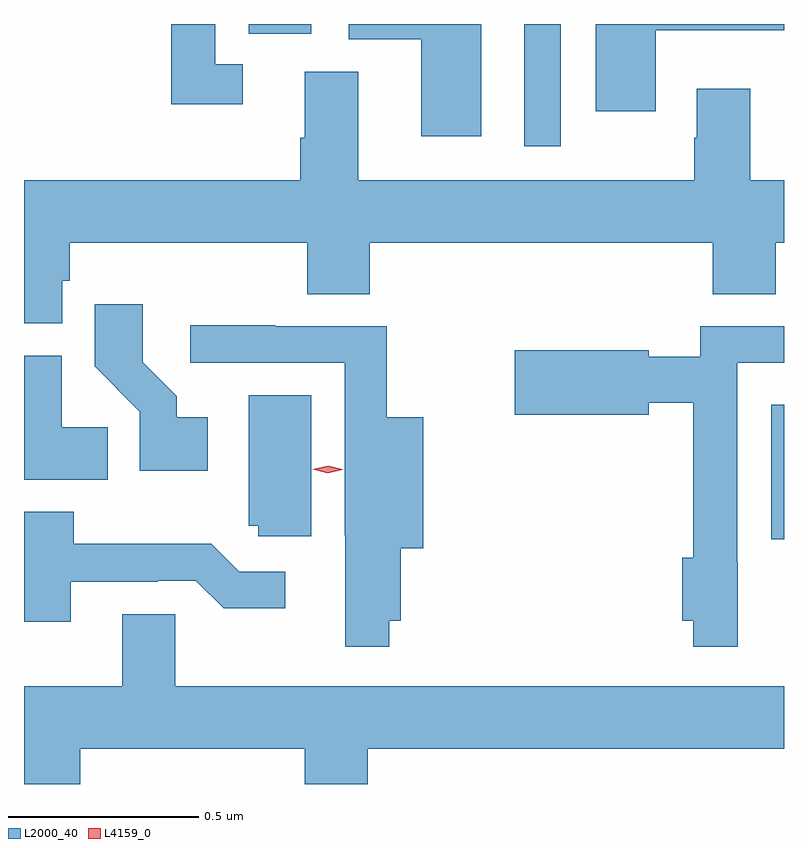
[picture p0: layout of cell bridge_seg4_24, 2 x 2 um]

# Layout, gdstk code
import gdstk
lib = gdstk.Library(unit=1e-6, precision=1e-09)
def R(c, l, rs):  # rectangles x0, y0, x1, y1
    for r in rs: c.add(gdstk.rectangle(r[:2], r[2:], *l))
def P(c, l, *ps):  # polygons
    for p in ps: c.add(gdstk.Polygon(p, *l))
L2000_40 = (2000, 40)
L4159_0 = (4159, 0)

bridge_seg4_24 = lib.new_cell('bridge_seg4_24')
R(bridge_seg4_24, L2000_40, [(1103.978,786.715,1104.012,787.069), (1103.328,787.749,1103.424,788.071), (1102.604,788.046,1102.768,788.071)])
P(bridge_seg4_24, L2000_40, [(1103.215,788.071),(1102.866,788.071),(1102.866,788.031),(1103.057,788.031),(1103.057,787.776),(1103.215,787.776)],
  [(1102.588,787.965),(1102.515,787.965),(1102.515,788.071),(1102.399,788.071),(1102.399,787.86),(1102.588,787.86)],
  [(1103.674,788.054),(1104.012,788.054),(1104.012,788.071),(1103.516,788.071),(1103.516,787.842),(1103.674,787.842)],
  [(1102.113,787.395),(1102.133,787.395),(1102.133,787.496),(1102.757,787.496),(1102.757,787.36),(1102.922,787.36),(1102.922,787.496),(1103.825,787.496),(1103.825,787.36),(1103.99,787.36),(1103.99,787.496),(1104.012,787.496),(1104.012,787.66),(1103.923,787.66),(1103.923,787.9),(1103.783,787.9),(1103.783,787.772),(1103.776,787.772),(1103.776,787.66),(1102.891,787.66),(1102.891,787.946),(1102.751,787.946),(1102.751,787.772),(1102.739,787.772),(1102.739,787.66),(1102.012,787.66),(1102.012,787.283),(1102.113,787.283)],
  [(1102.495,787.036),(1102.414,787.036),(1102.414,787.091),(1102.324,787.181),(1102.324,787.333),(1102.198,787.333),(1102.198,787.17),(1102.317,787.051),(1102.317,786.896),(1102.495,786.896)],
  [(1102.973,786.5),(1103.003,786.5),(1103.003,786.692),(1103.062,786.692),(1103.062,787.036),(1102.966,787.036),(1102.966,787.275),(1102.673,787.275),(1102.673,787.278),(1102.449,787.278),(1102.449,787.179),(1102.856,787.179),(1102.856,786.726),(1102.857,786.726),(1102.857,786.432),(1102.973,786.432)],
  [(1103.89,786.654),(1103.889,786.654),(1103.889,787.179),(1104.012,787.179),(1104.012,787.275),(1103.792,787.275),(1103.792,787.195),(1103.656,787.195),(1103.656,787.213),(1103.304,787.213),(1103.304,787.043),(1103.656,787.043),(1103.656,787.074),(1103.773,787.074),(1103.773,786.666),(1103.744,786.666),(1103.744,786.5),(1103.773,786.5),(1103.773,786.432),(1103.89,786.432)],
  [(1102.232,787.01),(1102.111,787.01),(1102.111,787.198),(1102.012,787.198),(1102.012,786.872),(1102.232,786.872)],
  [(1102.768,787.094),(1102.604,787.094),(1102.604,786.75),(1102.629,786.75),(1102.629,786.723),(1102.768,786.723)],
  [(1102.135,786.603),(1102.364,786.603),(1102.364,786.606),(1102.464,786.606),(1102.537,786.533),(1102.699,786.533),(1102.699,786.63),(1102.578,786.63),(1102.505,786.703),(1102.143,786.703),(1102.143,786.787),(1102.012,786.787),(1102.012,786.498),(1102.135,786.498)],
  [(1102.16,786.164),(1102.751,786.164),(1102.751,786.071),(1102.916,786.071),(1102.916,786.164),(1104.012,786.164),(1104.012,786.328),(1102.41,786.328),(1102.41,786.518),(1102.271,786.518),(1102.271,786.328),(1102.012,786.328),(1102.012,786.071),(1102.16,786.071)])
P(bridge_seg4_24, L4159_0, [(1102.811,786.889),(1102.772,786.899),(1102.772,786.899),(1102.772,786.899),(1102.812,786.909),(1102.85,786.899),(1102.851,786.898),(1102.85,786.898)])

lib.write_gds('bridge_seg4_24.gds')
